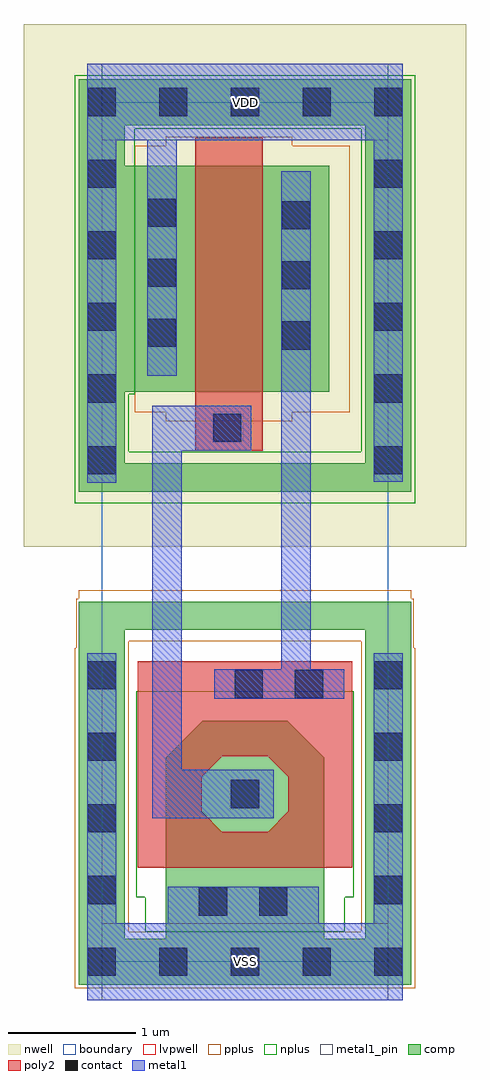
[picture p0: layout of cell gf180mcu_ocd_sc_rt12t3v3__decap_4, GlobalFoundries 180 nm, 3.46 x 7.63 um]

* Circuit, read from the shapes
.subckt gf180mcu_ocd_sc_rt12t3v3__decap_4 VDD VSS
XM1 n1 n2 VSS VSS nfet_03v3 w=1.89u l=0.5258u
XM2 n2 n1 VDD VDD pfet_03v3 w=1.765u l=0.53u
.ends

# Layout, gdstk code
import gdstk
lib = gdstk.Library(unit=1e-6, precision=1e-09)
def R(c, l, rs):  # rectangles x0, y0, x1, y1
    for r in rs: c.add(gdstk.rectangle(r[:2], r[2:], *l))
def A(c, l, x, y, w, h, nx, ny, dx, dy):  # array of equal rectangles
    R(c, l, [(x+i*dx, y+j*dy, x+i*dx+w, y+j*dy+h) for i in range(nx) for j in range(ny)])
def P(c, l, *ps):  # polygons
    for p in ps: c.add(gdstk.Polygon(p, *l))
boundary = (0, 0)
nwell = (21, 0)
comp = (22, 0)
poly2 = (30, 0)
pplus = (31, 0)
nplus = (32, 0)
contact = (33, 0)
metal1 = (34, 0)
metal1_pin = (34, 10)
lvpwell = (204, 0)

gf180mcu_ocd_sc_rt12t3v3 = lib.new_cell('gf180mcu_ocd_sc_rt12t3v3__decap_4')
R(gf180mcu_ocd_sc_rt12t3v3, boundary, [(0,0,2.24,6.72)])
R(gf180mcu_ocd_sc_rt12t3v3, nwell, [(-0.61,3.245,2.85,7.33)])
R(gf180mcu_ocd_sc_rt12t3v3, comp, [(-0.18,-0.18,2.42,0.18), (-0.18,0.18,0.18,2.595), (0.5,0.18,1.74,1.595), (2.06,0.18,2.42,2.595), (0.79,1.595,1.45,1.885), (-0.18,2.595,2.42,2.815), (-0.18,3.675,2.42,3.895), (-0.18,3.895,0.18,4.455), (2.06,3.895,2.42,6.54), (-0.18,4.455,1.78,6.22), (-0.18,6.22,0.18,6.54), (-0.18,6.54,2.42,6.9)])
P(gf180mcu_ocd_sc_rt12t3v3, comp, [(0.5,1.595),(0.79,1.595),(0.79,1.885)],
  [(1.45,1.885),(1.45,1.595),(1.74,1.595)])
R(gf180mcu_ocd_sc_rt12t3v3, poly2, [(0.28,0.735,1.96,1.015), (0.28,1.015,0.78,1.595), (1.46,1.015,1.96,1.595), (0.28,1.595,0.93,1.605), (1.31,1.595,1.96,1.605), (0.28,1.605,1.96,2.35), (0.73,3.995,1.26,6.44)])
P(gf180mcu_ocd_sc_rt12t3v3, poly2, [(0.93,1.595),(0.93,1.605),(0.94,1.605)],
  [(1.3,1.605),(1.31,1.605),(1.31,1.595)],
  [(0.78,1.445),(0.78,1.595),(0.93,1.595)],
  [(1.31,1.595),(1.46,1.595),(1.46,1.445)],
  [(0.78,1.175),(0.78,1.015),(0.94,1.015)],
  [(1.3,1.015),(1.46,1.015),(1.46,1.175)])
R(gf180mcu_ocd_sc_rt12t3v3, pplus, [(-0.21,-0.21,2.45,0.235), (-0.21,0.235,0.21,2.45), (2.03,0.235,2.45,2.45), (-0.2,2.45,0.21,2.505), (2.03,2.45,2.44,2.505), (-0.2,2.505,2.44,2.835), (-0.18,2.835,2.42,2.905), (0.5,4.225,1.49,4.295), (0.26,4.295,1.94,6.38), (0.5,6.38,1.49,6.45)])
R(gf180mcu_ocd_sc_rt12t3v3, nplus, [(0.34,0.235,1.9,0.505), (0.27,0.505,1.97,2.115), (-0.21,3.585,2.45,3.985), (-0.21,3.985,0.21,4.435), (2.03,3.985,2.45,6.51), (-0.21,4.435,0.26,6.51), (-0.21,6.51,2.45,6.93)])
A(gf180mcu_ocd_sc_rt12t3v3, contact, -0.11, -0.11, 0.22, 0.22, 5, 2, 0.56, 6.72)
A(gf180mcu_ocd_sc_rt12t3v3, contact, -0.11, 0.45, 0.22, 0.22, 1, 4, 0, 0.56)
A(gf180mcu_ocd_sc_rt12t3v3, contact, 2.13, 0.45, 0.22, 0.22, 1, 4, 0, 0.56)
A(gf180mcu_ocd_sc_rt12t3v3, contact, -0.11, 3.81, 0.22, 0.22, 1, 5, 0, 0.56)
A(gf180mcu_ocd_sc_rt12t3v3, contact, 2.13, 3.81, 0.22, 0.22, 1, 5, 0, 0.56)
A(gf180mcu_ocd_sc_rt12t3v3, contact, 1.41, 4.785, 0.22, 0.22, 1, 3, 0, 0.47)
A(gf180mcu_ocd_sc_rt12t3v3, contact, 0.36, 4.805, 0.22, 0.22, 1, 3, 0, 0.47)
R(gf180mcu_ocd_sc_rt12t3v3, contact, [(0.76,0.36,0.98,0.58), (1.23,0.36,1.45,0.58), (1.01,1.2,1.23,1.42), (1.04,2.06,1.26,2.28), (1.51,2.06,1.73,2.28), (0.87,4.065,1.09,4.285)])
R(gf180mcu_ocd_sc_rt12t3v3, metal1, [(-0.115,-0.3,2.355,0.3), (-0.115,0.3,0.115,2.41), (0.515,0.3,1.695,0.585), (2.125,0.3,2.355,2.41), (0.395,1.12,1.345,1.5), (0.395,1.5,0.625,3.995), (0.88,2.055,1.895,2.285), (1.405,2.285,1.635,6.18), (-0.115,3.745,0.115,6.42), (2.125,3.75,2.355,6.42), (0.395,3.995,1.17,4.345), (0.355,4.58,0.585,6.42), (-0.115,6.42,2.355,7.02)])
R(gf180mcu_ocd_sc_rt12t3v3, metal1_pin, [(0,-0.3,2.24,0.3), (0,6.42,2.24,7.02)])
R(gf180mcu_ocd_sc_rt12t3v3, lvpwell, [(0,-0.3,2.24,-0.18), (-0.18,-0.18,2.42,2.815)])
gf180mcu_ocd_sc_rt12t3v3.add(gdstk.Label('VDD', (1.12,6.72), layer=34, texttype=10))
gf180mcu_ocd_sc_rt12t3v3.add(gdstk.Label('VSS', (1.12,0), layer=34, texttype=10))

lib.write_gds('gf180mcu_ocd_sc_rt12t3v3__decap_4.gds')
